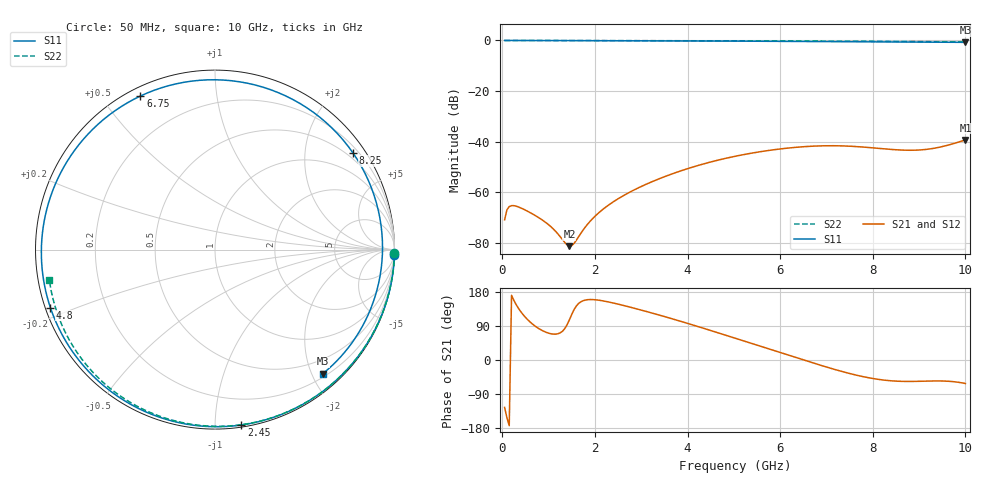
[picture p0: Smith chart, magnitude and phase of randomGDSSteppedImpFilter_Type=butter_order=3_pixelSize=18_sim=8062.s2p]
! freq	dB(S11)	phase(S11)	dB(S12)	phase(S12)
!  dB(S21)	phase(S21)	dB(S22)	phase(S22)
!S-par simulation data
#  GHz  S  DB  R 50
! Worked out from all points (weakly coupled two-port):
!   200 points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, 50 MHz to 10 GHz, reference 50 ohm
!   highest |S21| = -39.36 dB at 10 GHz (marker M1); lowest = -81.4 dB at 1.45 GHz (marker M2)
!   lowest |S11| = -0.8 dB at 10 GHz (marker M3), VSWR 22.73, Z = 12.6 - j108 ohm
!   |S11| at or under -10 dB: nowhere
!   |S22| runs from -0.6 to 0.0 dB; largest |S21 - S12| = 0
!   S11 on the Smith chart (normalised r, x): 50 MHz: 0, -67; 2.45 GHz: 0.01, -1.16; 4.8 GHz: 0.01, -0.17; 6.75 GHz: 0.03, +0.63; 8.25 GHz: 0.35, +3.13; 10 GHz: 0.25, -2.17
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0.05  -0.00 -1.7  -70.98 -125.0  -70.98 -125.0  -0.00 -1.0
0.1  -0.00 -3.4  -67.02 -152.6  -67.02 -152.6  -0.00 -2.0
0.15  -0.00 -5.1  -65.75 -173.2  -65.75 -173.2  -0.00 -2.9
0.35  -0.01 -11.9  -65.89 136.2  -65.89 136.2  -0.00 -6.9
0.9  -0.04 -30.4  -71.52 75.5  -71.52 75.5  -0.02 -17.5
1.35  -0.06 -45.4  -79.96 82.9  -79.96 82.9  -0.03 -26.1
1.45  -0.06 -48.7  -81.41 106.3  -81.41 106.3  -0.04 -28.0
1.55  -0.07 -52.0  -80.30 133.1  -80.30 133.1  -0.04 -29.9
1.75  -0.07 -58.6  -74.90 156.7  -74.90 156.7  -0.04 -33.7
2.45  -0.10 -81.5  -63.23 148.9  -63.23 148.9  -0.06 -46.7
3.4  -0.15 -112.5  -54.64 118.2  -54.64 118.2  -0.08 -63.8
4.1  -0.19 -135.9  -50.17 93.0  -50.17 93.0  -0.11 -75.9
4.8  -0.24 -160.6  -46.75 66.3  -46.75 66.3  -0.13 -87.7
5.05  -0.26 -169.9  -45.75 56.6  -45.75 56.6  -0.14 -91.8
5.9  -0.35 155.7  -43.16 23.5  -43.16 23.5  -0.18 -105.5
6.7  -0.43 118.4  -41.84 -7.4  -41.84 -7.4  -0.23 -118.0
6.75  -0.43 115.9  -41.80 -9.3  -41.80 -9.3  -0.23 -118.8
7.5  -0.50 76.3  -41.84 -35.6  -41.84 -35.6  -0.29 -130.4
8.25  -0.55 35.0  -42.90 -53.2  -42.90 -53.2  -0.36 -141.9
8.35  -0.56 29.6  -43.06 -54.4  -43.06 -54.4  -0.37 -143.4
9.1  -0.62 -9.0  -43.21 -55.9  -43.21 -55.9  -0.45 -155.1
10  -0.76 -49.1  -39.36 -62.0  -39.36 -62.0  -0.55 -169.4
